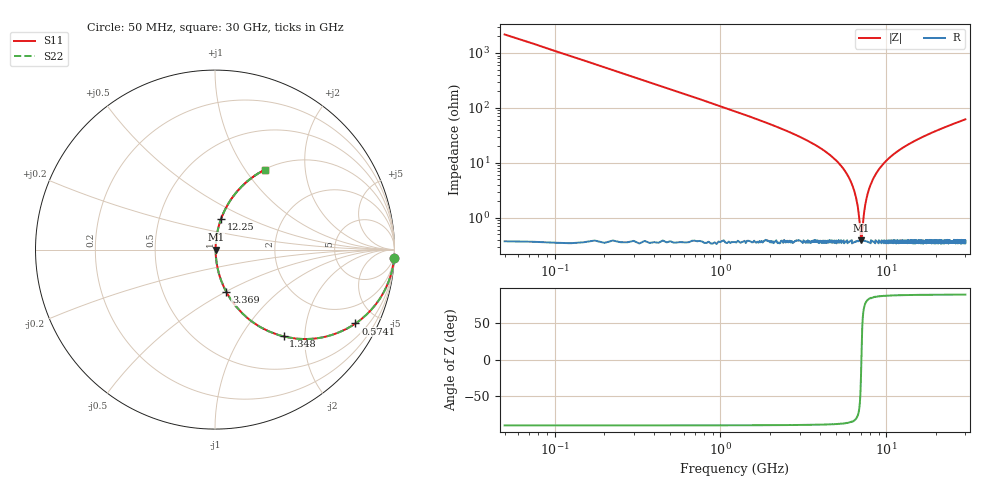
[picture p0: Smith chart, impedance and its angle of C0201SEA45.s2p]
!	AVX Thin Film Operation 	Date: April 2014
!	Description: Accu-P® Series, Thin Film  SMD RF Capacitor
!	Part Number: 02015JA45PBSTR
# MHZ S MA R 50
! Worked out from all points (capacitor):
!   1201 points, 50 MHz to 30 GHz, reference 50 ohm
!   read as one part in series: C = 1.45 pF near 199.8 MHz
!   lowest |Z| = 388 mohm at 7.088 GHz (marker M1)
!   series resonance near 7.077 GHz, so ESL is about 350 pH
!   S11 on the Smith chart (normalised r, x): 50 MHz: 1, -44; 574.1 MHz: 1.01, -3.80; 1.348 GHz: 1.01, -1.57; 3.369 GHz: 1.01, -0.50; 12.25 GHz: 1.01, +0.36; 30 GHz: 1.01, +1.24
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50  0.999 -2.6  0.046 87.4  0.046 87.4  0.999 -2.6
299.583  0.964 -15.3  0.264 74.7  0.264 74.7  0.964 -15.3
574.125  0.884 -27.7  0.466 62.1  0.466 62.1  0.884 -27.7
1347.833  0.616 -51.7  0.785 38.0  0.785 38.0  0.616 -51.7
2171.458  0.415 -65.0  0.906 24.5  0.906 24.5  0.415 -65.0
3369.458  0.243 -75.1  0.966 14.1  0.966 14.1  0.243 -75.1
5041.667  0.106 -81.9  0.991 6.1  0.991 6.1  0.106 -81.9
5865.292  0.058 -83.1  0.995 3.3  0.995 3.3  0.058 -83.1
6389.417  0.032 -81.6  0.996 1.8  0.996 1.8  0.032 -81.6
6663.958  0.019 -77.8  0.996 1.1  0.996 1.1  0.019 -77.8
6988.417  0.005357 -46.4  0.996 0.2  0.996 0.2  0.005357 -46.4
7088.25  0.003709 7.5  0.996 -0.0  0.996 -0.0  0.003709 7.5
7188.083  0.006055 52.3  0.996 -0.3  0.996 -0.3  0.006055 52.3
7512.542  0.019 77.7  0.996 -1.1  0.996 -1.1  0.019 77.7
7961.792  0.037 82.2  0.996 -2.1  0.996 -2.1  0.037 82.2
8785.417  0.067 83.0  0.994 -3.9  0.994 -3.9  0.067 83.0
10058.29  0.11 81.8  0.99 -6.3  0.99 -6.3  0.11 81.8
12254.62  0.176 78.7  0.981 -10.1  0.981 -10.1  0.176 78.7
15025  0.247 74.9  0.965 -14.3  0.965 -14.3  0.247 74.9
20016.67  0.357 68.5  0.931 -20.9  0.931 -20.9  0.357 68.5
25033.29  0.449 62.9  0.89 -26.7  0.89 -26.7  0.449 62.9
30000  0.526 57.9  0.847 -31.7  0.847 -31.7  0.526 57.9
